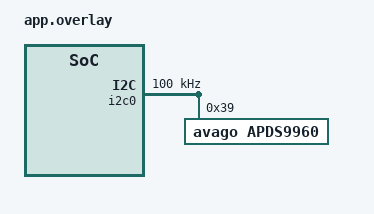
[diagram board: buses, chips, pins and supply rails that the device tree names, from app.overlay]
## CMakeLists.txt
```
# SPDX-License-Identifier: Apache-2.0

cmake_minimum_required(VERSION 3.20.0)
set(BOARD esp32s3_devkitc/esp32s3/procpu)
find_package(Zephyr REQUIRED HINTS $ENV{ZEPHYR_BASE})
project(node)

target_include_directories(app PRIVATE src/)
FILE(GLOB node_sources src/main.c
                       src/sensor.c
                       src/firmware_update.c
                       src/command.c
)
target_sources(app PRIVATE ${node_sources})
```

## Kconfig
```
# Copyright (c) 2023 Nordic Semiconductor ASA
# SPDX-License-Identifier: Apache-2.0

# Source common USB sample options used to initialize new experimental USB
# device stack. The scope of these options is limited to USB samples in project
# tree, you cannot use them in your own application.
# source "samples/subsys/usb/common/Kconfig.sample_usbd"

source "Kconfig.zephyr"
```

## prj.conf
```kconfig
# Increased stack due to settings API usage
CONFIG_SYSTEM_WORKQUEUE_STACK_SIZE=2048

CONFIG_BT=y
CONFIG_LOG=y


CONFIG_BT_L2CAP_TX_MTU=247
CONFIG_BT_BUF_ACL_RX_SIZE=251
CONFIG_BT_GATT_CLIENT=y







CONFIG_BT_SMP=y
CONFIG_BT_PERIPHERAL=y
CONFIG_BT_DIS=y
CONFIG_BT_ATT_PREPARE_COUNT=5
# CONFIG_BT_BAS=y
# CONFIG_BT_HRS=y
CONFIG_BT_IAS=y
# CONFIG_BT_CTS=y
CONFIG_BT_CTS_HELPER_API=y
CONFIG_BT_PRIVACY=y
CONFIG_BT_DEVICE_NAME="Node"
CONFIG_BT_DEVICE_APPEARANCE=833
CONFIG_BT_DEVICE_NAME_DYNAMIC=y
CONFIG_BT_DEVICE_NAME_MAX=65

CONFIG_BT_KEYS_OVERWRITE_OLDEST=y
CONFIG_BT_SETTINGS=y
CONFIG_FLASH=y
CONFIG_FLASH_MAP=y
CONFIG_NVS=y
CONFIG_SETTINGS=y


# ADS9960 sensor
CONFIG_I2C=y
CONFIG_SENSOR=y
CONFIG_APDS9960=y

CONFIG_REBOOT=y
CONFIG_FLASH=y
CONFIG_FLASH_MAP=y
CONFIG_STREAM_FLASH=y
CONFIG_IMG_MANAGER=y
```

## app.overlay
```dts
&pinctrl {
    i2c0_default: i2c0_default {
        group1 {
            pinmux = <I2C0_SDA_GPIO8>, <I2C0_SCL_GPIO9>;
            bias-pull-up;
            drive-open-drain;
            output-high;
        };
    };
};

&i2c0 {
    status = "okay";
    pinctrl-0 = <&i2c0_default>;
    pinctrl-names = "default";
    clock-frequency = <I2C_BITRATE_STANDARD>;

    apds9960@39 {
        compatible = "avago,apds9960";
        reg = <0x39>;
       // int-gpios = <&gpio0 4 GPIO_ACTIVE_LOW>; /* optional, wire INT here if used */
    };

};




&flash0 {
	partitions {
		ranges;
		#address-cells = <1>;
		#size-cells = <1>;

		boot_partition: partition@0 {
			compatible = "zephyr,mapped-partition";
			label = "mcuboot";
			reg = <0x0 DT_SIZE_K(64)>;
		};

		sys_partition: partition@10000 {
			compatible = "zephyr,mapped-partition";
			label = "sys";
			reg = <0x10000 DT_SIZE_K(64)>;
		};

		slot0_partition: partition@20000 {
			compatible = "zephyr,mapped-partition";
			label = "image-0";
			reg = <0x20000 DT_SIZE_K(1344)>;
		};

		slot1_partition: partition@170000 {
			compatible = "zephyr,mapped-partition";
			label = "image-1";
			reg = <0x170000 DT_SIZE_K(1344)>;
		};

		slot0_appcpu_partition: partition@2c0000 {
			compatible = "zephyr,mapped-partition";
			label = "image-0-appcpu";
			reg = <0x2c0000 DT_SIZE_K(448)>;
		};

		slot1_appcpu_partition: partition@330000 {
			compatible = "zephyr,mapped-partition";
			label = "image-1-appcpu";
			reg = <0x330000 DT_SIZE_K(448)>;
		};

		slot0_lpcore_partition: partition@3a0000 {
			compatible = "zephyr,mapped-partition";
			label = "image-0-lpcore";
			reg = <0x3a0000 DT_SIZE_K(32)>;
		};

		slot1_lpcore_partition: partition@3a8000 {
			compatible = "zephyr,mapped-partition";
			label = "image-1-lpcore";
			reg = <0x3a8000 DT_SIZE_K(32)>;
		};

		storage_partition: partition@3b0000 {
			compatible = "zephyr,mapped-partition";
			label = "storage";
			reg = <0x3b0000 DT_SIZE_K(192)>;
		};

		scratch_partition: partition@3e0000 {
			compatible = "zephyr,mapped-partition";
			label = "image-scratch";
			reg = <0x3e0000 DT_SIZE_K(124)>;
		};

		coredump_partition: partition@3ff000 {
			compatible = "zephyr,mapped-partition";
			label = "coredump";
			reg = <0x3ff000 DT_SIZE_K(4)>;
		};
		image_update_partition: partition@400000 {
			compatible = "zephyr,mapped-partition";
			label = "image_update";
			reg = <0x400000 DT_SIZE_K(1024)>;
		};
	};
};
```

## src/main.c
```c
// TODO: add atoms to track connected / disconnected states, and call start_advertising when you dc
#include <zephyr/types.h>
#include <stddef.h>
#include <string.h>
#include <errno.h>
#include <zephyr/sys/printk.h>
#include <zephyr/sys/byteorder.h>
#include <zephyr/kernel.h>
#include <zephyr/logging/log.h>
#include <zephyr/settings/settings.h>
#include <zephyr/drivers/sensor.h>
#include <zephyr/bluetooth/bluetooth.h>
#include <zephyr/bluetooth/hci.h>
#include <zephyr/bluetooth/conn.h>
#include <zephyr/bluetooth/uuid.h>
#include <zephyr/bluetooth/gatt.h>
#include <zephyr/bluetooth/services/ias.h>
#include <sensor.h>
#include <command.h>
#include <firmware_update.h>

LOG_MODULE_REGISTER(main, LOG_LEVEL_INF);


/* Custom Service Variables */
#define BT_UUID_CUSTOM_SERVICE_VAL \
	BT_UUID_128_ENCODE(0x12345678, 0x1234, 0x5678, 0x1234, 0x56789abcdef0)

static const struct bt_uuid_128 vnd_uuid = BT_UUID_INIT_128(
	BT_UUID_CUSTOM_SERVICE_VAL);

static const struct bt_uuid_128 vnd_enc_uuid = BT_UUID_INIT_128(
	BT_UUID_128_ENCODE(0x12345678, 0x1234, 0x5678, 0x1234, 0x56789abcdef1));

static const struct bt_uuid_128 vnd_auth_uuid = BT_UUID_INIT_128(
	BT_UUID_128_ENCODE(0x12345678, 0x1234, 0x5678, 0x1234, 0x56789abcdef2));

static const struct bt_uuid_128 vnd_long_uuid = BT_UUID_INIT_128(
	BT_UUID_128_ENCODE(0x12345678, 0x1234, 0x5678, 0x1234, 0x56789abcdef3));

static struct bt_gatt_cep vnd_long_cep = {
	.properties = BT_GATT_CEP_RELIABLE_WRITE,
};

static const struct bt_uuid_128 vnd_write_cmd_uuid = BT_UUID_INIT_128(
	BT_UUID_128_ENCODE(0x12345678, 0x1234, 0x5678, 0x1234, 0x56789abcdef4));

static const struct bt_uuid_128 vnd_sensor_uuid = BT_UUID_INIT_128(
BT_UUID_128_ENCODE(0x12345678, 0x1234, 0x5678, 0x1234, 0x56789abcdef5));


// message characteristic 
static const struct bt_uuid_128 vnd_msg_uuid = BT_UUID_INIT_128(
	BT_UUID_128_ENCODE(0x12345678, 0x1234, 0x5678, 0x1234, 0x56789abcdef6));

const struct bt_uuid_128 vnd_cmd_uuid = BT_UUID_INIT_128(
	BT_UUID_128_ENCODE(0x12345678, 0x1234, 0x5678, 0x1234, 0x56789abcdef7));

static const struct bt_uuid_128 vnd_cmd_feedback_uuid = BT_UUID_INIT_128(
BT_UUID_128_ENCODE(0x12345678, 0x1234, 0x5678, 0x1234, 0x56789abcdef8));

static const struct bt_uuid_128 vnd_payload_size_uuid = BT_UUID_INIT_128(
BT_UUID_128_ENCODE(0x12345678, 0x1234, 0x5678, 0x1234, 0x56789abcdef9));

static const struct bt_uuid_128 vnd_payload_chunk_uuid = BT_UUID_INIT_128(
BT_UUID_128_ENCODE(0x12345678, 0x1234, 0x5678, 0x1234, 0x56789abcdef10));

static const struct bt_uuid_128 vnd_payload_chunk_feedback_uuid = BT_UUID_INIT_128(
BT_UUID_128_ENCODE(0x12345678, 0x1234, 0x5678, 0x1234, 0x56789abcdef11));








#define MSG_MAX_LEN 32
char msg[MSG_MAX_LEN + 1] = {0};

static ssize_t write_msg(struct bt_conn *conn, const struct bt_gatt_attr *attr,
			 const void *buf, uint16_t len, uint16_t offset,
			 uint8_t flags)
{
	uint8_t *value = attr->user_data;

	if (offset + len > MSG_MAX_LEN) {
		return BT_GATT_ERR(BT_ATT_ERR_INVALID_OFFSET);
	}

	memcpy(value + offset, buf, len);
	value[offset + len] = 0;

	return len;
}



// sensor notification -------------------------------------------------------->
static int16_t sensor_value = 0; 
static uint8_t sensor_notify_enabled;
static void sensor_ccc_cfg_changed(const struct bt_gatt_attr *attr, uint16_t value)
{
	sensor_notify_enabled = (value == BT_GATT_CCC_NOTIFY) ? 1 : 0;
}

int read_my_sensor(){
	return ++sensor_value;
}

static ssize_t read_sensor(struct bt_conn *conn, const struct bt_gatt_attr *attr,
			    void *buf, uint16_t len, uint16_t offset)
{
	return bt_gatt_attr_read(conn, attr, buf, len, offset,
				  &sensor_value, sizeof(sensor_value));
}
// sensor notification -------------------------------------------------------->


// command feedback notification --------------------------------------------------------------/

#define VND_MAX_LEN 20
// #define BT_HR_HEARTRATE_DEFAULT_MIN 90U
// #define BT_HR_HEARTRATE_DEFAULT_MAX 160U

static uint8_t vnd_value[VND_MAX_LEN + 1] = { 'V', 'e', 'n', 'd', 'o', 'r'};
static uint8_t vnd_auth_value[VND_MAX_LEN + 1] = { 'V', 'e', 'n', 'd', 'o', 'r'};
static uint8_t vnd_wwr_value[VND_MAX_LEN + 1] = { 'V', 'e', 'n', 'd', 'o', 'r' };

static ssize_t read_vnd(struct bt_conn *conn, const struct bt_gatt_attr *attr,
			void *buf, uint16_t len, uint16_t offset)
{
	const char *value = attr->user_data;

	return bt_gatt_attr_read(conn, attr, buf, len, offset, value,
				 strlen(value));
}

static ssize_t write_vnd(struct bt_conn *conn, const struct bt_gatt_attr *attr,
			 const void *buf, uint16_t len, uint16_t offset,
			 uint8_t flags)
{
	uint8_t *value = attr->user_data;

	if (offset + len > VND_MAX_LEN) {
		return BT_GATT_ERR(BT_ATT_ERR_INVALID_OFFSET);
	}

	memcpy(value + offset, buf, len);
	value[offset + len] = 0;

	return len;
}

static uint8_t simulate_vnd;
static uint8_t indicating;
static struct bt_gatt_indicate_params ind_params;

static void vnd_ccc_cfg_changed(const struct bt_gatt_attr *attr, uint16_t value)
{
	simulate_vnd = (value == BT_GATT_CCC_INDICATE) ? 1 : 0;
}

static void indicate_cb(struct bt_conn *conn,
			struct bt_gatt_indicate_params *params, uint8_t err)
{
	printk("Indication %s\n", err != 0U ? "fail" : "success");
}

static void indicate_destroy(struct bt_gatt_indicate_params *params)
{
	printk("Indication complete\n");
	indicating = 0U;
}

#define VND_LONG_MAX_LEN 74
static uint8_t vnd_long_value[VND_LONG_MAX_LEN + 1] = {
		  'V', 'e', 'n', 'd', 'o', 'r', ' ', 'd', 'a', 't', 'a', '1',
		  'V', 'e', 'n', 'd', 'o', 'r', ' ', 'd', 'a', 't', 'a', '2',
		  'V', 'e', 'n', 'd', 'o', 'r', ' ', 'd', 'a', 't', 'a', '3',
		  'V', 'e', 'n', 'd', 'o', 'r', ' ', 'd', 'a', 't', 'a', '4',
		  'V', 'e', 'n', 'd', 'o', 'r', ' ', 'd', 'a', 't', 'a', '5',
		  'V', 'e', 'n', 'd', 'o', 'r', ' ', 'd', 'a', 't', 'a', '6',
		  '.', ' ' };

static ssize_t write_long_vnd(struct bt_conn *conn,
			      const struct bt_gatt_attr *attr, const void *buf,
			      uint16_t len, uint16_t offset, uint8_t flags)
{
	uint8_t *value = attr->user_data;

	if (flags & BT_GATT_WRITE_FLAG_PREPARE) {
		return 0;
	}

	if (offset + len > VND_LONG_MAX_LEN) {
		return BT_GATT_ERR(BT_ATT_ERR_INVALID_OFFSET);
	}

	memcpy(value + offset, buf, len);
	value[offset + len] = 0;

	return len;
}



static ssize_t write_without_rsp_vnd(struct bt_conn *conn,
				     const struct bt_gatt_attr *attr,
				     const void *buf, uint16_t len, uint16_t offset,
				     uint8_t flags)
{
	uint8_t *value = attr->user_data;

	if (!(flags & BT_GATT_WRITE_FLAG_CMD)) {
		/* Write Request received. Reject it since this Characteristic
		 * only accepts Write Without Response.
		 */
		return BT_GATT_ERR(BT_ATT_ERR_WRITE_REQ_REJECTED);
	}

	if (offset + len > VND_MAX_LEN) {
		return BT_GATT_ERR(BT_ATT_ERR_INVALID_OFFSET);
	}

	memcpy(value + offset, buf, len);
	value[offset + len] = 0;

	return len;
}

/* Vendor Primary Service Declaration */
BT_GATT_SERVICE_DEFINE(vnd_svc,
	BT_GATT_PRIMARY_SERVICE(&vnd_uuid),
	BT_GATT_CHARACTERISTIC(&vnd_enc_uuid.uuid,
			       BT_GATT_CHRC_READ | BT_GATT_CHRC_WRITE |
			       BT_GATT_CHRC_INDICATE,
			       BT_GATT_PERM_READ_ENCRYPT |
			       BT_GATT_PERM_WRITE_ENCRYPT,
			       read_vnd, write_vnd, vnd_value),
	BT_GATT_CCC(vnd_ccc_cfg_changed,
		    BT_GATT_PERM_READ | BT_GATT_PERM_WRITE_ENCRYPT),
	BT_GATT_CHARACTERISTIC(&vnd_auth_uuid.uuid,
			       BT_GATT_CHRC_READ | BT_GATT_CHRC_WRITE,
			       BT_GATT_PERM_READ_AUTHEN |
			       BT_GATT_PERM_WRITE_AUTHEN,
			       read_vnd, write_vnd, vnd_auth_value),
	BT_GATT_CHARACTERISTIC(&vnd_long_uuid.uuid, BT_GATT_CHRC_READ |
			       BT_GATT_CHRC_WRITE | BT_GATT_CHRC_EXT_PROP,
			       BT_GATT_PERM_READ | BT_GATT_PERM_WRITE |
			       BT_GATT_PERM_PREPARE_WRITE,
			       read_vnd, write_long_vnd, &vnd_long_value),
	BT_GATT_CEP(&vnd_long_cep),
	BT_GATT_CHARACTERISTIC(&vnd_write_cmd_uuid.uuid,
			       BT_GATT_CHRC_WRITE_WITHOUT_RESP,
			       BT_GATT_PERM_WRITE, NULL,
			       write_without_rsp_vnd, &vnd_wwr_value),
	// sensor ------------------------------------------------------>
	BT_GATT_CHARACTERISTIC(&vnd_sensor_uuid.uuid,
			       BT_GATT_CHRC_READ | BT_GATT_CHRC_NOTIFY,
			       BT_GATT_PERM_READ,
			       read_sensor, NULL, NULL),
	BT_GATT_CCC(sensor_ccc_cfg_changed,
		    BT_GATT_PERM_READ | BT_GATT_PERM_WRITE),
		// sensor ------------------------------------------------------>
	
	// message --------------------------->
	BT_GATT_CHARACTERISTIC(&vnd_msg_uuid.uuid,
							BT_GATT_CHRC_WRITE,
							BT_GATT_PERM_WRITE,
							NULL, write_msg, &msg),
	// message --------------------------->

	// command --------------------------->
	BT_GATT_CHARACTERISTIC(&vnd_cmd_uuid.uuid,
							BT_GATT_CHRC_WRITE,
							BT_GATT_PERM_WRITE,
							NULL, write_cmd, &cmd),
	// command --------------------------->

	// command feedback ------------------------------------------------------>
	BT_GATT_CHARACTERISTIC(&vnd_cmd_feedback_uuid.uuid,
			       BT_GATT_CHRC_READ | BT_GATT_CHRC_NOTIFY,
			       BT_GATT_PERM_READ,
			       read_cmd_feedback, NULL, NULL),
	BT_GATT_CCC(cmd_feedback_ccc_cfg_changed,
		    BT_GATT_PERM_READ | BT_GATT_PERM_WRITE),
	// command feedback------------------------------------------------------>

	// payload size --------------------------->
	BT_GATT_CHARACTERISTIC(&vnd_payload_size_uuid.uuid,
							BT_GATT_CHRC_WRITE,
							BT_GATT_PERM_WRITE,
							NULL, write_payload_size, &payload_size),
	// payload size -------------------------->

	// payload_chunk --------------------------->
	BT_GATT_CHARACTERISTIC(&vnd_payload_chunk_uuid.uuid,
							BT_GATT_CHRC_WRITE,
							BT_GATT_PERM_WRITE,
							NULL, write_payload_chunk, &payload_chunk),
	// payload_chunk  -------------------------->

	// payload_chunk_feedback  ------------------------------------------------------>
	BT_GATT_CHARACTERISTIC(&vnd_payload_chunk_feedback_uuid.uuid,
			       BT_GATT_CHRC_NOTIFY,
			       BT_GATT_PERM_NONE,
			       NULL, NULL, NULL),
	BT_GATT_CCC(payload_chunk_feedback_ccc_cfg_changed,
		    BT_GATT_PERM_READ | BT_GATT_PERM_WRITE),
	// payload_chunk_feedback------------------------------------------------------>
);

static const struct bt_data ad[] = {
	BT_DATA_BYTES(BT_DATA_FLAGS, (BT_LE_AD_GENERAL | BT_LE_AD_NO_BREDR)),
	/*
	BT_DATA_BYTES(BT_DATA_UUID16_ALL,
		      BT_UUID_16_ENCODE(BT_UUID_HRS_VAL),
		      BT_UUID_16_ENCODE(BT_UUID_BAS_VAL),
		      BT_UUID_16_ENCODE(BT_UUID_CTS_VAL)),
	*/
	BT_DATA_BYTES(BT_DATA_UUID128_ALL, BT_UUID_CUSTOM_SERVICE_VAL),
};

static const struct bt_data sd[] = {
	BT_DATA(BT_DATA_NAME_COMPLETE, CONFIG_BT_DEVICE_NAME, sizeof(CONFIG_BT_DEVICE_NAME) - 1),
};

void mtu_updated(struct bt_conn *conn, uint16_t tx, uint16_t rx)
{
	printk("Updated MTU: TX: %d RX: %d bytes\n", tx, rx);
}

static struct bt_gatt_cb gatt_callbacks = {
	.att_mtu_updated = mtu_updated
};

enum{
	CONNECTED_FLAG,
	DISCONNECTED_FLAG,
	NUMBER_OF_CONNECTION_FLAGS
};

ATOMIC_DEFINE(connection_flag_bits, NUMBER_OF_CONNECTION_FLAGS);



static void connected(struct bt_conn *conn, uint8_t err)
{
	if (err) {
		printk("Connection failed, err 0x%02x %s\n", err, bt_hci_err_to_str(err));
	} else {
		printk("Connected\n");
		atomic_set_bit(connection_flag_bits, CONNECTED_FLAG);
	}


}
void start_advertising(){

	int	err = bt_le_adv_start(BT_LE_ADV_CONN_FAST_1, ad, ARRAY_SIZE(ad), sd, ARRAY_SIZE(sd));
	if (err) {
		printk("Advertising failed to start (err %d)\n", err);
		return;
	}
	printk("Advertising successfully started\n");
}
static void disconnected(struct bt_conn *conn, uint8_t reason)
{
	printk("Disconnected, reason 0x%02x %s\n", reason, bt_hci_err_to_str(reason));
	atomic_set_bit(connection_flag_bits, DISCONNECTED_FLAG);
}

static void alert_stop(void)
{
	printk("Alert stopped\n");
}

static void alert_start(void)
{
	printk("Mild alert started\n");
}

static void alert_high_start(void)
{
	printk("High alert started\n");
}

BT_CONN_CB_DEFINE(conn_callbacks) = {
	.connected = connected,
	.disconnected = disconnected,
};

BT_IAS_CB_DEFINE(ias_callbacks) = {
	.no_alert = alert_stop,
	.mild_alert = alert_start,
	.high_alert = alert_high_start,
};

static void bt_ready(void)
{
	int err;

	printk("Bluetooth initialized\n");

	if (IS_ENABLED(CONFIG_SETTINGS)) {
		settings_load();
	}

	err = bt_le_adv_start(BT_LE_ADV_CONN_FAST_1, ad, ARRAY_SIZE(ad), sd, ARRAY_SIZE(sd));
	if (err) {
		printk("Advertising failed to start (err %d)\n", err);
		return;
	}

	printk("Advertising successfully started\n");
}

static void auth_passkey_display(struct bt_conn *conn, unsigned int passkey)
{
	printk("Passkey for %s: %06u\n", bt_conn_dst_str(conn), passkey);
}

static void auth_cancel(struct bt_conn *conn)
{
	printk("Pairing cancelled: %s\n", bt_conn_dst_str(conn));
}

static struct bt_conn_auth_cb auth_cb_display = {
	.passkey_display = auth_passkey_display,
	.passkey_entry = NULL,
	.cancel = auth_cancel,
};


int main(void)
{
	/*
    int erro;
	const struct flash_area* slot1_partition;
    erro = flash_area_open(PARTITION_ID(slot1_partition), &slot1_partition);
	const struct flash_area *image_update_partition;
    erro = flash_area_open(PARTITION_ID(image_update_partition), &image_update_partition);
	flash_area_erase(image_update_partition, 0, PARTITION_SIZE(image_update_partition));
	flash_area_write(image_update_partition, 0, "hello, world", sizeof("hello, world"));
	*/

	//copy_update_partition();
	
	/*
	char *message = malloc(32);
	flash_area_read(slot1_partition, 0, message, strlen("hello, world"));
	message[strlen("hello, world")] = '\0';
	printf("Message is : %s /////////////////////////////", message);
	*/

	//swap_A_B_partitions();

	/*
	    if (!device_is_ready(apds9960)) {
        printk("APDS9960 not ready\n");
        return 0;
    }
		*/
	printf("getting started ...\n");

	struct bt_gatt_attr *vnd_ind_attr;
	char str[BT_UUID_STR_LEN];
	int err;

	// sensor ------------>
	struct bt_gatt_attr *sensor_attr;


	err = bt_enable(NULL);
	if (err != 0) {
		printk("Bluetooth init failed (err %d)\n", err);
		return 0;
	}
	sensor_attr = bt_gatt_find_by_uuid(vnd_svc.attrs, vnd_svc.attr_count,
				    &vnd_sensor_uuid.uuid);
	printk("Sensor attr %p\n", sensor_attr);
	// sensor ------------>

	struct bt_gatt_attr *msg_attr = bt_gatt_find_by_uuid(vnd_svc.attrs, vnd_svc.attr_count,
				    &vnd_msg_uuid.uuid);
	

	struct bt_gatt_attr *cmd_feedback_attr = bt_gatt_find_by_uuid(vnd_svc.attrs, vnd_svc.attr_count,
				    &vnd_cmd_feedback_uuid.uuid);


	struct bt_gatt_attr *payload_chunk_feedback_attr = bt_gatt_find_by_uuid(vnd_svc.attrs, vnd_svc.attr_count,
				    &vnd_payload_chunk_feedback_uuid.uuid);




	bt_ready();


	bt_gatt_cb_register(&gatt_callbacks);
	bt_conn_auth_cb_register(&auth_cb_display);

	vnd_ind_attr = bt_gatt_find_by_uuid(vnd_svc.attrs, vnd_svc.attr_count,
					    &vnd_enc_uuid.uuid);
	bt_uuid_to_str(&vnd_enc_uuid.uuid, str, sizeof(str));
	printk("Indicate VND attr %p (UUID %s)\n", vnd_ind_attr, str);

	printf("about to initialize the sensor:\n");
	sensor_init();
	while (true) {
		k_sleep(K_SECONDS(1));
		//printf("messga value: %s\n", msg);

		
		///////////////////
		/*
        sensor_sample_fetch(apds9960);
        sensor_channel_get(apds9960, SENSOR_CHAN_LIGHT, &apds9960_light);
        sensor_channel_get(apds9960, SENSOR_CHAN_PROX, &apds9960_prox);
        sensor_channel_get(apds9960, SENSOR_CHAN_RED, &apds9960_red);
        sensor_channel_get(apds9960, SENSOR_CHAN_GREEN, &apds9960_green);
        sensor_channel_get(apds9960, SENSOR_CHAN_BLUE, &apds9960_blue);
		sensor_value = apds9960_prox.val1;

        printk("light=%d prox=%d r=%d g=%d b=%d\n",
               apds9960_light.val1, apds9960_prox.val1, apds9960_red.val1, apds9960_green.val1, apds9960_blue.val1);

        k_sleep(K_MSEC(1000));
		*/
		///////////////////////////////////

		if (atomic_test_and_clear_bit(connection_flag_bits, DISCONNECTED_FLAG))
		{
			printf("TRIED TO ADVERTISE ???????????????????\n");
			start_advertising();
		}

		/* Vendor indication simulation */
		if (simulate_vnd && vnd_ind_attr) {
			if (indicating) {
				continue;
			}

			ind_params.attr = vnd_ind_attr;
			ind_params.func = indicate_cb;
			ind_params.destroy = indicate_destroy;
			ind_params.data = &indicating;
			ind_params.len = sizeof(indicating);

			if (bt_gatt_indicate(NULL, &ind_params) == 0) {
				indicating = 1U;
			}
		}

		sensor_value = (int16_t)apds9960_prox.val1; 

		if (sensor_notify_enabled) {
			bt_gatt_notify(NULL, sensor_attr, &sensor_value, sizeof(sensor_value));
		}


		// managing commands
		printf("%i", cmd);
		switch (cmd)
		{
		case UPDATE_CMD:
			LOG_INF("Update Command Received.\n");
			cmd = NO_CMD;
			send_feedback(OTA_UPDATE_READY, cmd_feedback_attr);
			transfer_firmware(payload_chunk_feedback_attr);
			k_sleep(K_MSEC(5000));
			copy_update_partition();
			swap_A_B_partitions();
			break;
		
		default:
			break;
		}
	}
	return 0;
}
```

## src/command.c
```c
#include <command.h>


// command -------------------------------------------------------------->



// command characteristic 
uint8_t cmd = NO_CMD;
ssize_t write_cmd(struct bt_conn *conn, const struct bt_gatt_attr *attr,
			 const void *buf, uint16_t len, uint16_t offset,
			 uint8_t flags)
{
    printf("Attempting to write command. ------------------------------------  \n");
	uint8_t *value = attr->user_data;

	if (offset + len > sizeof(cmd)) {
		return BT_GATT_ERR(BT_ATT_ERR_INVALID_OFFSET);
	}

	memcpy(value + offset, buf, len);

    if (cmd != NO_CMD && cmd != UPDATE_CMD) {
        cmd = NO_CMD;  // reject unrecognized values
        return BT_GATT_ERR(BT_ATT_ERR_VALUE_NOT_ALLOWED);
    }

	return len;
}

// command --------------------------------------------------------------/


// command feedback notification -------------------------------------------------------------->


uint8_t cmd_feedback = NO_FEEDBACK;
uint8_t cmd_feedback_notify_enabled;
void cmd_feedback_ccc_cfg_changed(const struct bt_gatt_attr *attr, uint16_t value)
{
	cmd_feedback_notify_enabled = (value == BT_GATT_CCC_NOTIFY) ? 1 : 0;
}

ssize_t read_cmd_feedback(struct bt_conn *conn, const struct bt_gatt_attr *attr,
			    void *buf, uint16_t len, uint16_t offset)
{
	return bt_gatt_attr_read(conn, attr, buf, len, offset,
				  &cmd_feedback, sizeof(cmd_feedback));
}



void send_feedback(enum CmdFeedbacks cmd_fb, struct bt_gatt_attr *cmd_feedback_attr){
    cmd_feedback = cmd_fb;
	bt_gatt_notify(NULL, cmd_feedback_attr,  &cmd_feedback, sizeof(cmd_feedback));
}
```

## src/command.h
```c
#ifndef COMMAND_H
#define COMMAND_H

#include <zephyr/bluetooth/bluetooth.h>
#include <zephyr/bluetooth/hci.h>
#include <zephyr/bluetooth/conn.h>
#include <zephyr/bluetooth/uuid.h>
#include <zephyr/bluetooth/gatt.h>
#include <zephyr/bluetooth/services/ias.h>
#include <stdio.h>


enum Commands{
	NO_CMD = 0,
	UPDATE_CMD = 1,
};

enum CmdFeedbacks{
	NO_FEEDBACK = 0,
	OTA_UPDATE_READY = 1,
	OTA_UPDATE_NOT_READY = 2,
};

extern uint8_t cmd;
ssize_t write_cmd(struct bt_conn *conn, const struct bt_gatt_attr *attr,
			 const void *buf, uint16_t len, uint16_t offset,
			 uint8_t flags);


extern uint8_t cmd_feedback ;
extern uint8_t cmd_feedback_notify_enabled;
void cmd_feedback_ccc_cfg_changed(const struct bt_gatt_attr *attr, uint16_t value);
ssize_t read_cmd_feedback(struct bt_conn *conn, const struct bt_gatt_attr *attr,
			    void *buf, uint16_t len, uint16_t offset);

void send_feedback(enum CmdFeedbacks cmd_fb, struct bt_gatt_attr *cmd_feedback_attr);
#endif
```

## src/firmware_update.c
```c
#include <firmware_update.h>


LOG_MODULE_REGISTER(update_firmware, LOG_LEVEL_INF);


#define TRANSFER_BUFF_SIZE 256
int copy_update_partition(){
    const struct flash_area *image_update_partition;
    const struct flash_area *slot1_partition;


    int err;
    err = flash_area_open(PARTITION_ID(image_update_partition), &image_update_partition);
    if (err)
    {
        printf("failed to open image_update_partition\n");
        return 1;
    }
    else
    {
        printf("image_update_partition is open.\n");
    }
    
    err = flash_area_open(PARTITION_ID(slot1_partition), &slot1_partition);

        if (err)
    {
        printf("failed to open slot1_partition\n");
        return 1;
    }
    else
    {
        printf("slot1_partition is open.\n");
    }

    flash_area_erase(slot1_partition, 0, PARTITION_SIZE(slot1_partition));

    char transfer_buff[TRANSFER_BUFF_SIZE];
    int upper_limit = MIN(PARTITION_SIZE(image_update_partition), PARTITION_SIZE(slot1_partition));
    int pointer = 0;
    while(pointer < upper_limit){
        int chunk_size = MIN(TRANSFER_BUFF_SIZE, upper_limit - pointer);
        flash_area_read(image_update_partition, pointer, transfer_buff, chunk_size);
        flash_area_write(slot1_partition, pointer, transfer_buff, chunk_size);
        pointer += chunk_size;
    }
    


    flash_area_close(slot1_partition);
    flash_area_close(image_update_partition);
    return 0;
}
void swap_A_B_partitions(){
    boot_request_upgrade(BOOT_UPGRADE_TEST);
    k_sleep(K_SECONDS(5));
    sys_reboot(SYS_REBOOT_WARM);
}




int32_t payload_size;
bool payload_size_flag = false;

bool is_payload_size_flag_up(){
    if(payload_size_flag == true){
        payload_size_flag = false;
        return true;
    }
    return false;
}

ssize_t write_payload_size(struct bt_conn *conn, const struct bt_gatt_attr *attr,
			 const void *buf, uint16_t len, uint16_t offset,
			 uint8_t flags)
{
    printf("Receiving a new payload size.\n"); // INF
    printf("Offset: %i, Lenght: %i.\n", offset, len); // INF
	uint8_t *value = attr->user_data;

	if (offset + len > sizeof(payload_size)) {
        printf("Data len + offset is too big for [payload_size] ."); // ERR
		return BT_GATT_ERR(BT_ATT_ERR_INVALID_OFFSET);
	}

	memcpy(value + offset, buf, len);
    printf("[payload_size] : %i.\n", payload_size); // INF
    if (payload_size <= 0) {
        printf("[payload_size] is too small."); // ERR
        return BT_GATT_ERR(BT_ATT_ERR_VALUE_NOT_ALLOWED);
    }

    if (payload_size > PARTITION_SIZE(image_update_partition)) {
        printf("[payload_size] is too big for %d.", PARTITION_SIZE(image_update_partition)); // ERR
        return BT_GATT_ERR(BT_ATT_ERR_VALUE_NOT_ALLOWED);
    }
    if(payload_size_flag == true)    printf("[payload_flag] is already true, meaning it hasn't"
                                "been correctly reset."); // ERR
    payload_size_flag = true;

	return len;
}


struct PayloadChunk payload_chunk;
struct PayloadChunkWrapper
{
	int32_t index;
	char data[CHUNK_DATA_SIZE];
    uint8_t len;
    bool payload_chunk_flag;
} ;

static struct PayloadChunkWrapper payload_chunk_wrapper = {.payload_chunk_flag = false};

bool is_payload_chunk_flag_up(){
    if(payload_chunk_wrapper.payload_chunk_flag == true){
        payload_chunk_wrapper.payload_chunk_flag = false;
        return true;
    }
    return false;
}

ssize_t write_payload_chunk(struct bt_conn *conn, const struct bt_gatt_attr *attr,
			 const void *buf, uint16_t len, uint16_t offset,
			 uint8_t flags)
{
    printf("Receiving a new payload chunk.\n"); // INF
    printf("Offset: %i, Lenght: %i.\n", offset, len); // INF
	uint8_t *value = attr->user_data;

	if (offset + len > sizeof(payload_chunk)) {
        printf("Data len + offset is too big for [payload_chunk] ."); // ERR
		return BT_GATT_ERR(BT_ATT_ERR_INVALID_OFFSET);
	}

	memcpy(value + offset, buf, len);
    printf("[payload_chunk] index: %i, len: %i.\n", payload_chunk.index, payload_chunk.len); // INF

    payload_chunk_wrapper.index = payload_chunk.index;
    memcpy(payload_chunk_wrapper.data, payload_chunk.data, CHUNK_DATA_SIZE);
    payload_chunk_wrapper.len = payload_chunk.len;

    if(payload_chunk_wrapper.payload_chunk_flag == true)    printf("[payload_chunk_flag] is already true, meaning it hasn't"
                                "been correctly reset."); // ERR
    payload_chunk_wrapper.payload_chunk_flag = true;

	return len;
}


// payload chunk feedback notification -------------------------------------------------------------->

enum PayloadChunkFeedback{
	NO_FEEDBACK = 0,
	CHUNK_MISSED = 1,
	CHUNK_ACCEPTED = 2,
};
static uint8_t payload_chunk_feedback = NO_FEEDBACK;
static uint8_t payload_chunk_feedback_notify_enabled;

void payload_chunk_feedback_ccc_cfg_changed(const struct bt_gatt_attr *attr, uint16_t value)
{
	payload_chunk_feedback_notify_enabled = (value == BT_GATT_CCC_NOTIFY) ? 1 : 0;
}

//TODO: check if payload_chunk_feedback_notify_enabled is true and do that for other notifications as well
void send_payload_chunk_feedback(enum PayloadChunkFeedback pc_fb, struct bt_gatt_attr *pc_feedback_attr){
    payload_chunk_feedback = pc_fb;
	bt_gatt_notify(NULL, pc_feedback_attr,  &payload_chunk_feedback, sizeof(payload_chunk_feedback));
}


void transfer_firmware(struct bt_gatt_attr *pc_feedback_attr){

    const struct flash_area *image_update_partition;
    int err;
    err = flash_area_open(PARTITION_ID(image_update_partition), &image_update_partition);
    if (err)
    {
        printf("failed to open image_update_partition during firmware transfer.\n");
        return;
    }
    else
    {
        printf("image_update_partition is open.\n");
    }
    flash_area_erase(image_update_partition, 0, PARTITION_SIZE(image_update_partition));

    // get the payload size
    while(true){
        if(is_payload_size_flag_up()){

            printf("[payload_size] has been received. %d", payload_size); // INF

            // Setup
            int32_t chunks_count = payload_size / CHUNK_DATA_SIZE + ((payload_size % CHUNK_DATA_SIZE ) == 0 ? 0 : 1);
            int32_t expected_chunk_index = 0;

            while(expected_chunk_index < chunks_count){
                // waiting for the chunk to arrive
                while (true)
                {
                    if(is_payload_chunk_flag_up()){
                        if(payload_chunk_wrapper.index == expected_chunk_index){
                            flash_area_write(image_update_partition, expected_chunk_index * CHUNK_DATA_SIZE,
                                             payload_chunk_wrapper.data, payload_chunk_wrapper.len);
                            send_payload_chunk_feedback(CHUNK_ACCEPTED, pc_feedback_attr);
                            expected_chunk_index++;
                        }
                        else{
                            send_payload_chunk_feedback(CHUNK_MISSED, pc_feedback_attr);
                        }
                        break;
                    }
                }
                
            }
            break;
        }
    }
    printf("uploading the firmware is done.\n");
    flash_area_close(image_update_partition);
    
}
```

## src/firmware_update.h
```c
#ifndef FIRMWARE_UPDATE_H
#define FIRMWARE_UPDATE_H
#include <zephyr/storage/flash_map.h>
#include <stdint.h>
#include <zephyr/bluetooth/att.h>
#include <zephyr/bluetooth/gatt.h>
#include <stdio.h>
#include <zephyr/dfu/mcuboot.h>
#include <zephyr/toolchain.h>
#include <zephyr/kernel.h>
#include <zephyr/sys/reboot.h>
#include <zephyr/logging/log.h>


int copy_update_partition();
void swap_A_B_partitions();
void transfer_firmware(struct bt_gatt_attr *pc_feedback_attr);

ssize_t write_payload_size(struct bt_conn *conn, const struct bt_gatt_attr *attr,
			 const void *buf, uint16_t len, uint16_t offset,
			 uint8_t flags);
extern int32_t payload_size;
extern bool payload_size_flag;

#define CHUNK_DATA_SIZE 239
struct PayloadChunk
{
	int32_t index;
	char data[CHUNK_DATA_SIZE];
	uint8_t len;
} __packed;

extern struct PayloadChunk payload_chunk;
ssize_t write_payload_chunk(struct bt_conn *conn, const struct bt_gatt_attr *attr,
			 const void *buf, uint16_t len, uint16_t offset,
			 uint8_t flags);


void payload_chunk_feedback_ccc_cfg_changed(const struct bt_gatt_attr *attr, uint16_t value);
#endif
```

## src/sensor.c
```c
#include <sensor.h>
#include <zephyr/drivers/sensor.h>
#include <zephyr/types.h>
#include <stddef.h>
#include <string.h>
#include <errno.h>
#include <zephyr/sys/printk.h>
#include <zephyr/sys/byteorder.h>
#include <zephyr/kernel.h>
#include <zephyr/kernel/thread_stack.h>
#include <zephyr/settings/settings.h>
#include <zephyr/logging/log.h>
LOG_MODULE_REGISTER(my_module, LOG_LEVEL_INF);

const struct device *apds9960 = DEVICE_DT_GET_ANY(avago_apds9960);
struct sensor_value apds9960_light, apds9960_prox, apds9960_red, apds9960_green, apds9960_blue;

#define SENSOR_WORKQ_STACK_SIZE 4096 
#define SENSOR_WORKQ_PRIO 5
struct k_work_q sensor_workq;
struct k_work_delayable sensor_work;

K_THREAD_STACK_DEFINE(sensor_workq_stack, SENSOR_WORKQ_STACK_SIZE);

static void sensor_work_handler(struct k_work *work) {
    int err = 0;

    sensor_sample_fetch(apds9960);

    if (0 != err) {
        LOG_ERR("Failed to fetch sensor reading: %d", err);
        return;
    }


    sensor_channel_get(apds9960, SENSOR_CHAN_LIGHT, &apds9960_light);
    err = sensor_channel_get(apds9960, SENSOR_CHAN_PROX, &apds9960_prox);
    sensor_channel_get(apds9960, SENSOR_CHAN_RED, &apds9960_red);
    sensor_channel_get(apds9960, SENSOR_CHAN_GREEN, &apds9960_green);
    sensor_channel_get(apds9960, SENSOR_CHAN_BLUE, &apds9960_blue);

    if (0 != err) {
        LOG_ERR("Failed to get sensor value: %d", err);
        return;
    }

    //LOG_INF("Proximity reading: %d", apds9960_prox.val1);
    err = k_work_reschedule_for_queue(	&sensor_workq,
                                        &sensor_work,
                                        K_MSEC(1000) );

}

void sensor_init(void) {
    printk("APDS9960 is ready\n");
    if (!device_is_ready(apds9960)) {
        printk("APDS9960 not ready\n");
        return ;
    }
    printk("APDS9960 is ready\n");
    k_work_queue_start(&sensor_workq,
                       sensor_workq_stack,
                       K_THREAD_STACK_SIZEOF(sensor_workq_stack),
                       SENSOR_WORKQ_PRIO,
                       NULL);
    k_work_init_delayable(&sensor_work, sensor_work_handler);

    int err = 0;

    sensor_sample_fetch(apds9960);

    if (0 != err) {
        LOG_ERR("Failed to fetch sensor reading: %d", err);
        return;
    }


    sensor_channel_get(apds9960, SENSOR_CHAN_LIGHT, &apds9960_light);
    err = sensor_channel_get(apds9960, SENSOR_CHAN_PROX, &apds9960_prox);
    sensor_channel_get(apds9960, SENSOR_CHAN_RED, &apds9960_red);
    sensor_channel_get(apds9960, SENSOR_CHAN_GREEN, &apds9960_green);
    sensor_channel_get(apds9960, SENSOR_CHAN_BLUE, &apds9960_blue);

    if (0 != err) {
        LOG_ERR("Failed to get sensor value: %d", err);
        return;
    }

    LOG_INF("Proximity reading: %d", apds9960_prox.val1);

    k_work_schedule_for_queue(&sensor_workq, &sensor_work, K_MSEC(0));
}
```

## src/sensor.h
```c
#ifndef SENSOR_H
#define SENSOR_H

void sensor_init(void);

extern struct sensor_value apds9960_light, apds9960_prox, apds9960_red, apds9960_green, apds9960_blue;
extern struct k_work_q sensor_workq;
extern struct k_work_delayable sensor_work;
#endif
```
